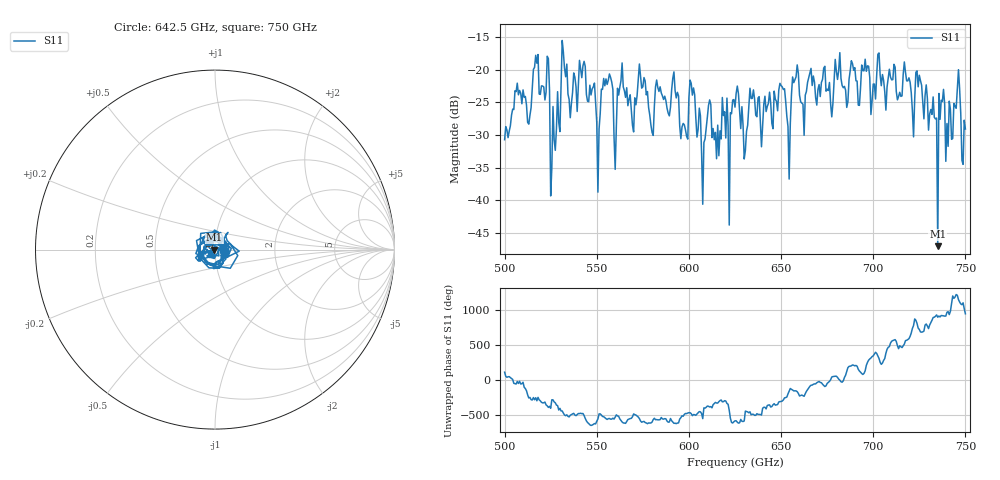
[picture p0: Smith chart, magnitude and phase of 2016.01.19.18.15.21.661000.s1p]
!Created with skrf (http://scikit-rf.org).
# GHz S RI R 50.0
!freq ReS11 ImS11
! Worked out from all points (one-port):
!   401 points, 500 GHz to 750 GHz, reference 50 ohm
!   lowest |S11| = -47.0 dB at 735 GHz (marker M1), VSWR 1.01, Z = 49.6 - j0.00137 ohm
!   |S11| at or under -10 dB: start of sweep to end of sweep
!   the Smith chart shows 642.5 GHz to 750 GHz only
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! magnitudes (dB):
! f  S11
! 500 GHz  -30.7
! 506.9 GHz  -22.1
! 513.1 GHz  -28.3
! 516.9 GHz  -17.8
! 523.1 GHz  -17.9
! 526.2 GHz  -25.6
! 531.2 GHz  -15.5
! 542.5 GHz  -19.4
! 550.6 GHz  -38.7
! 553.8 GHz  -21.3
! 560.6 GHz  -28.7
! 562.5 GHz  -22.7
! 593.8 GHz  -23.5
! 598.1 GHz  -29.2
! 601.9 GHz  -23.9
! 608.1 GHz  -31.1
! 610.6 GHz  -25.5
! 625 GHz  -25.7
! 630.6 GHz  -32.4
! 634.4 GHz  -24.4
! 650.6 GHz  -22.6
! 653.8 GHz  -28.7
! 656.2 GHz  -21.1
! 687.5 GHz  -20.2
! 718.8 GHz  -21.7
! 735 GHz  -47.0
! 745.6 GHz  -22.9
! 750 GHz  -29.1
